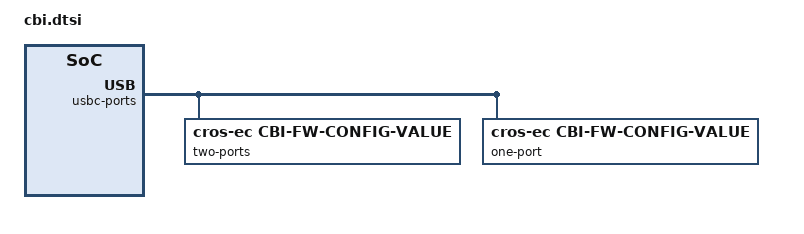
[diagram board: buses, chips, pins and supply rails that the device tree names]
/* Copyright 2025 The ChromiumOS Authors
 * Use of this source code is governed by a BSD-style license that can be
 * found in the LICENSE file.
 */

/ {
	anakin-fw-config {
		compatible = "cros-ec,cbi-fw-config";

		/*
		 * FW_CONFIG field to indicate the device is clamshell
		 * or convertible.
		 */
		form_factor {
			enum-name = "FORM_FACTOR";
			start = <28>;
			size = <2>;
			convertible {
				compatible = "cros-ec,cbi-fw-config-value";
				enum-name = "CONVERTIBLE";
				value = <0>;
			};
			clamshell {
				compatible = "cros-ec,cbi-fw-config-value";
				enum-name = "CLAMSHELL";
				value = <1>;
			};
		};
		usbc-ports {
			enum-name = "USBC_PORTS";
			start = <8>;
			size = <2>;

			two-ports {
				compatible = "cros-ec,cbi-fw-config-value";
				enum-name = "TWO_PORTS";
				value = <0>;
			};
			one-port {
				compatible = "cros-ec,cbi-fw-config-value";
				enum-name = "ONE_PORT";
				value = <1>;
			};
		};
	};

	anakin-ssfc {
		compatible = "cros-ec,cbi-ssfc";
		/* SSFC field to identify BASE motion sensor. */
		base-sensor {
			enum-name = "BASE_SENSOR";
			size = <3>;
			base_sensor_0: bmi323 {
				compatible = "cros-ec,cbi-ssfc-value";
				status = "okay";
				value = <1>;
				default;
			};
			base_sensor_1: lsm6dsm {
				compatible = "cros-ec,cbi-ssfc-value";
				status = "okay";
				value = <2>;
				};
		};

		/* SSFC field to identify LID motion sensor. */
		id-sensor {
			enum-name = "LID_SENSOR";
			size = <3>;
			lid_sensor_0: bma422 {
				compatible = "cros-ec,cbi-ssfc-value";
				status = "okay";
				value = <1>;
				default;
			};
			lid_sensor_1: lis2dw12 {
				compatible = "cros-ec,cbi-ssfc-value";
				status = "okay";
				value = <2>;
			};
		};

		/* SSFC field to identify PDC type.*/
		pdc-type {
			enum-name = "PDC_TYPE";
			size = <3>;

			rts54: rts54 {
				compatible = "cros-ec,cbi-ssfc-value";
				status = "okay";
				value = <1>;
				default;
			};
			tps6699: tps6699 {
				compatible = "cros-ec,cbi-ssfc-value";
				status = "okay";
				value = <2>;
			};
		};
	};
};
